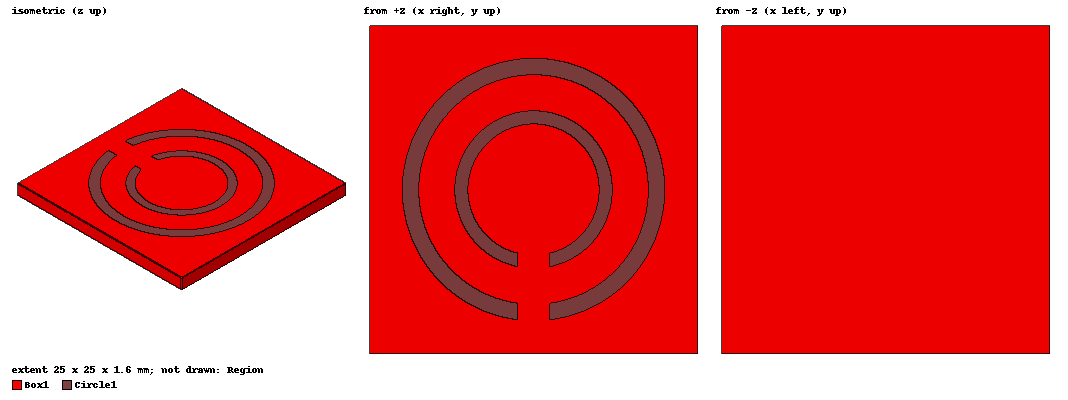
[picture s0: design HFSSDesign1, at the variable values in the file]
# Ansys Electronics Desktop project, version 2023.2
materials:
  vacuum: permittivity=1
  FR4_epoxy: permittivity=4.4 dielectric_loss_tangent=0.02

design HFSSDesign1 (HFSS, HFSS Terminal Network, model units mm)
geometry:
  coordinate_system RelativeCS1 = origin=(-1mm, -1mm, 0mm) x=(1mm, 0mm, 0mm) y=(0mm, 1mm, 0mm)
  Box1 [FR4_epoxy] = box(corner=(0mm, 0mm, 0mm), size=(25mm, 25mm, 1.6mm)) in RelativeCS1
  Circle1 = circle(normal=Z, centre=(12.5mm, 12.5mm, 1.6mm), radius=10mm) in RelativeCS1
  Circle2 = circle(normal=Z, centre=(12.5mm, 12.5mm, 1.6mm), radius=8.75mm) in RelativeCS1
  Circle1.subtract(Circle2)
  Circle3 = circle(normal=Z, centre=(12.5mm, 12.5mm, 1.6mm), radius=6mm) in RelativeCS1
  Circle4 = circle(normal=Z, centre=(12.5mm, 12.5mm, 1.6mm), radius=5mm) in RelativeCS1
  Circle3.subtract(Circle4)
  Rectangle1 = rectangle(corner=((12.5-1.25) mm, 0mm, 1.6mm), x_size=2.5mm, y_size=8mm) in RelativeCS1
  Rectangle1_1 = Rectangle1.copy()
  Circle1.subtract(Rectangle1_1)
  Circle3.subtract(Rectangle1)
  Region [vacuum] = region(percentage_offset: +X=0, -X=0, +Y=0, -Y=0, +Z=300, -Z=300) in RelativeCS1
  Circle1.unite(Circle3)
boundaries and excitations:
  PerfH1: Perfect H Faces=Region.face(at (11.5, 11.5, 6.4), at (11.5, 11.5, -4.8))
  PerfE1: Perfect E Faces=Region.face(at (24, 11.5, 0.8), at (-1, 11.5, 0.8))
  PerfE2: Perfect E Objects=Circle1
  1: Wave Port Faces=Region.face(at (11.5, 24, 0.8)) WavePortType=Modal NumModes=1 Modes{Mode1{IntLine{(24, 24, 0.8) -> (-1, 24, 0.8)} CharImp=Zpi}}
  2: Wave Port Faces=Region.face(at (11.5, -1, 0.8)) WavePortType=Modal NumModes=1 Modes{Mode1{IntLine{(-1, -1, 0.8) -> (24, -1, 0.8)} CharImp=Zpi}}
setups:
  Setup1: HfssDriven Frequency=2.4GHz MaxDeltaS=0.02 MaximumPasses=6 MinimumPasses=1 MinimumConvergedPasses=1 PercentRefinement=30 BasisOrder=1 PortAccuracy=2 DrivenSolverType="Direct Solver"
    sweep Sweep: 1GHz to 2.4GHz, 401 points; Type=Interpolating InterpTolerance=0.5 InterpMaxSolns=250 PassivityErrorTolerance=0.0001
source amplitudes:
  1:1: 1V 0deg
  2:1: 0V 0deg
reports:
  Terminal S Parameter Plot 1: dB(St(1,1)), dB(St(2,1)) vs Freq on Setup1 : Sweep
